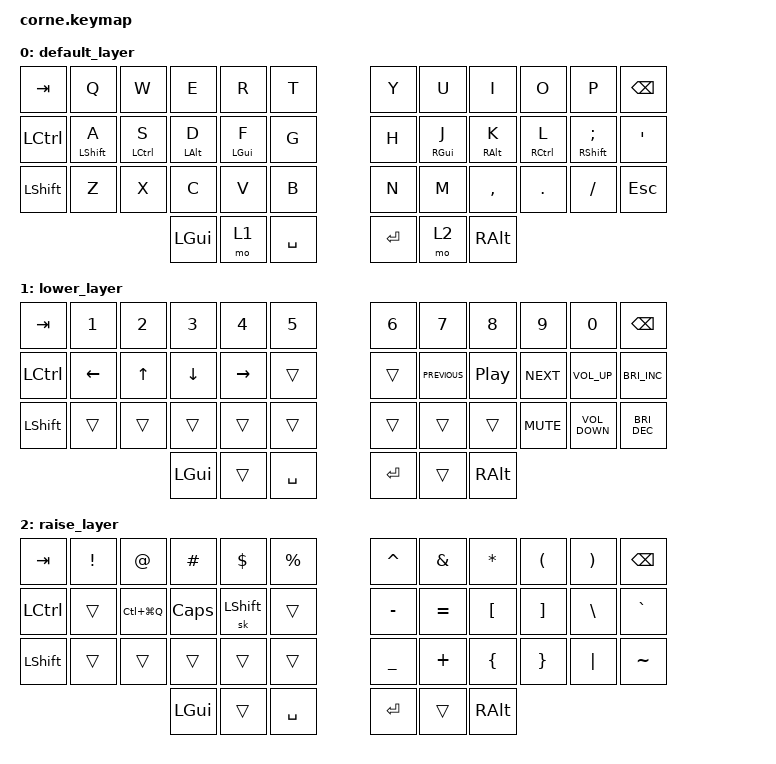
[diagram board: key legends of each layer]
/*
 * Copyright (c) 2020 The ZMK Contributors
 *
 * SPDX-License-Identifier: MIT
 */

#include <behaviors.dtsi>
#include <dt-bindings/zmk/keys.h>

/ {
    behaviors {
        hml: homerow_mods_left {
            compatible = "zmk,behavior-hold-tap";
            label = "HOMEROW_MODS_LEFT_HAND";
            #binding-cells = <2>;
            bindings = <&kp>, <&kp>;

            tapping-term-ms = <200>;
            hold-trigger-key-positions = <39 40 41 30 6 7 8 9 10 18 19 20 21 22 30 31 32 33 34 39 40 41 10 11 22 23 34 35>;
            flavor = "tap-preferred";
        };

        hmr: homerow_mods_right {
            compatible = "zmk,behavior-hold-tap";
            label = "HOMEROW_MODS_RIGHT_HAND";
            bindings = <&kp>, <&kp>;

            #binding-cells = <2>;
            tapping-term-ms = <200>;
            hold-trigger-key-positions = <1 13 14 25 26 0 1 2 3 4 5 12 13 14 15 16 17 24 25 26 27 28 29 36 37 38>;
            flavor = "tap-preferred";
        };
    };

    keymap {
        compatible = "zmk,keymap";

        default_layer {
            // -----------------------------------------------------------------------------------------
            // |  TAB |  Q  |  W  |  E  |  R  |  T  |   |  Y  |  U   |  I  |  O  |  P  | BKSP |
            // | CTRL |  A  |  S  |  D  |  F  |  G  |   |  H  |  J   |  K  |  L  |  ;  |  '   |
            // | SHFT |  Z  |  X  |  C  |  V  |  B  |   |  N  |  M   |  ,  |  .  |  /  | ESC  |
            //                    | GUI | LWR | SPC |   | ENT | RSE  | ALT |

            bindings = <
&kp TAB    &kp Q              &kp W         &kp E            &kp R            &kp T        &kp Y    &kp U             &kp I             &kp O         &kp P                       &kp BSPC
&kp LCTRL  &hml LEFT_SHIFT A  &hml LCTRL S  &hml LEFT_ALT D  &hml LEFT_GUI F  &kp G        &kp H    &hmr RIGHT_GUI J  &hmr RIGHT_ALT K  &hmr RCTRL L  &hmr RIGHT_SHIFT SEMICOLON  &kp SQT
&kp LSHFT  &kp Z              &kp X         &kp C            &kp V            &kp B        &kp N    &kp M             &kp COMMA         &kp DOT       &kp FSLH                    &kp ESC
                                            &kp LGUI         &mo 1            &kp SPACE    &kp RET  &mo 2             &kp RALT
            >;
        };

        lower_layer {
            // -----------------------------------------------------------------------------------------
            // |  TAB |  1  |  2  |  3  |  4  |  5  |   |  6  |  7  |  8  |  9  |  0  | BKSP |
            // | BTCLR| BT1 | BT2 | BT3 | BT4 | BT5 |   | LFT | DWN |  UP | RGT |     |      |
            // | SHFT |     |     |     |     |     |   |     |     |     |     |     |      |
            //                    | GUI |     | SPC |   | ENT |     | ALT |

            bindings = <
&kp TAB    &kp N1          &kp N2        &kp N3          &kp N4           &kp N5       &kp N6   &kp N7          &kp N8            &kp N9      &kp N0             &kp BSPC
&kp LCTRL  &kp LEFT_ARROW  &kp UP_ARROW  &kp DOWN_ARROW  &kp RIGHT_ARROW  &trans       &trans   &kp C_PREVIOUS  &kp C_PLAY_PAUSE  &kp C_NEXT  &kp C_VOLUME_UP    &kp C_BRIGHTNESS_INC
&kp LSHFT  &trans          &trans        &trans          &trans           &trans       &trans   &trans          &trans            &kp K_MUTE  &kp C_VOLUME_DOWN  &kp C_BRIGHTNESS_DEC
                                         &kp LGUI        &trans           &kp SPACE    &kp RET  &trans          &kp RALT
            >;
        };

        raise_layer {
            // -----------------------------------------------------------------------------------------
            // |  TAB |  !  |  @  |  #  |  $  |  %  |   |  ^  |  &  |  *  |  (  |  )  | BKSP |
            // | CTRL |     |     |     |     |     |   |  -  |  =  |  [  |  ]  |  \  |  `   |
            // | SHFT |     |     |     |     |     |   |  _  |  +  |  {  |  }  | "|" |  ~   |
            //                    | GUI |     | SPC |   | ENT |     | ALT |

            bindings = <
&kp TAB    &kp EXCL  &kp AT         &kp HASH      &kp DLLR        &kp PRCNT    &kp CARET  &kp AMPS   &kp ASTRK  &kp LPAR  &kp RPAR  &kp BSPC
&kp LCTRL  &trans    &kp LC(LG(Q))  &kp CAPSLOCK  &sk LEFT_SHIFT  &trans       &kp MINUS  &kp EQUAL  &kp LBKT   &kp RBKT  &kp BSLH  &kp GRAVE
&kp LSHFT  &trans    &trans         &trans        &trans          &trans       &kp UNDER  &kp PLUS   &kp LBRC   &kp RBRC  &kp PIPE  &kp TILDE
                                    &kp LGUI      &trans          &kp SPACE    &kp RET    &trans     &kp RALT
            >;
        };
    };
};
